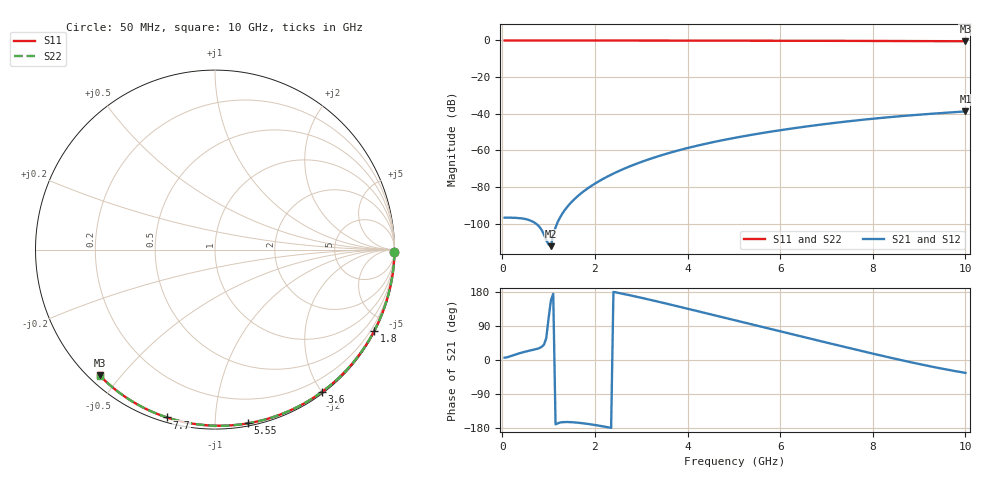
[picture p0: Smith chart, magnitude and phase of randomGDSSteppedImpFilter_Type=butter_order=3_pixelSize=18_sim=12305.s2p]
! freq	dB(S11)	phase(S11)	dB(S12)	phase(S12)
!  dB(S21)	phase(S21)	dB(S22)	phase(S22)
!S-par simulation data
#  GHz  S  DB  R 50
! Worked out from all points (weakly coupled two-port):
!   200 points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, 50 MHz to 10 GHz, reference 50 ohm
!   highest |S21| = -38.70 dB at 10 GHz (marker M1); lowest = -112.2 dB at 1.05 GHz (marker M2)
!   lowest |S11| = -0.4 dB at 10 GHz (marker M3), VSWR 39.89, Z = 1.5 - j22 ohm
!   |S11| at or under -10 dB: nowhere
!   |S22| runs from -0.4 to 0.0 dB; largest |S21 - S12| = 0
!   S11 on the Smith chart (normalised r, x): 50 MHz: open; 1.8 GHz: 0.04, -4.14; 3.6 GHz: 0.02, -2.00; 5.55 GHz: 0.02, -1.21; 7.7 GHz: 0.02, -0.75; 10 GHz: 0.03, -0.44
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0.05  -0.00 -0.8  -96.63 6.2  -96.63 6.2  -0.00 -0.8
0.55  -0.01 -8.4  -97.71 23.6  -97.71 23.6  -0.01 -8.4
1.05  -0.02 -16.0  -112.17 157.3  -112.17 157.3  -0.02 -16.0
1.75  -0.03 -26.4  -82.39 -167.1  -82.39 -167.1  -0.03 -26.4
1.8  -0.03 -27.2  -81.44 -167.9  -81.44 -167.9  -0.03 -27.2
1.85  -0.04 -27.9  -80.55 -168.7  -80.55 -168.7  -0.04 -27.9
1.9  -0.04 -28.6  -79.69 -169.6  -79.69 -169.6  -0.04 -28.6
2.05  -0.04 -30.9  -77.30 -172.5  -77.30 -172.5  -0.04 -30.8
2.25  -0.04 -33.8  -74.47 -176.8  -74.47 -176.8  -0.04 -33.8
2.65  -0.05 -39.6  -69.72 173.5  -69.72 173.5  -0.05 -39.6
3  -0.06 -44.6  -66.26 164.2  -66.26 164.2  -0.06 -44.6
3.4  -0.07 -50.3  -62.88 153.0  -62.88 153.0  -0.07 -50.3
3.6  -0.07 -53.1  -61.37 147.2  -61.37 147.2  -0.07 -53.1
4.3  -0.09 -62.8  -56.84 126.4  -56.84 126.4  -0.09 -62.7
5.05  -0.11 -72.8  -52.95 103.9  -52.95 103.9  -0.11 -72.8
5.55  -0.13 -79.3  -50.74 89.0  -50.74 89.0  -0.13 -79.3
6.1  -0.15 -86.3  -48.57 72.7  -48.57 72.7  -0.15 -86.3
6.7  -0.18 -93.8  -46.46 54.9  -46.46 54.9  -0.18 -93.8
7.7  -0.24 -105.9  -43.45 25.5  -43.45 25.5  -0.24 -105.9
8.35  -0.29 -113.6  -41.84 6.9  -41.84 6.9  -0.29 -113.5
9.15  -0.36 -122.8  -40.18 -14.4  -40.18 -14.4  -0.36 -122.8
10  -0.44 -132.5  -38.70 -34.0  -38.70 -34.0  -0.44 -132.4
